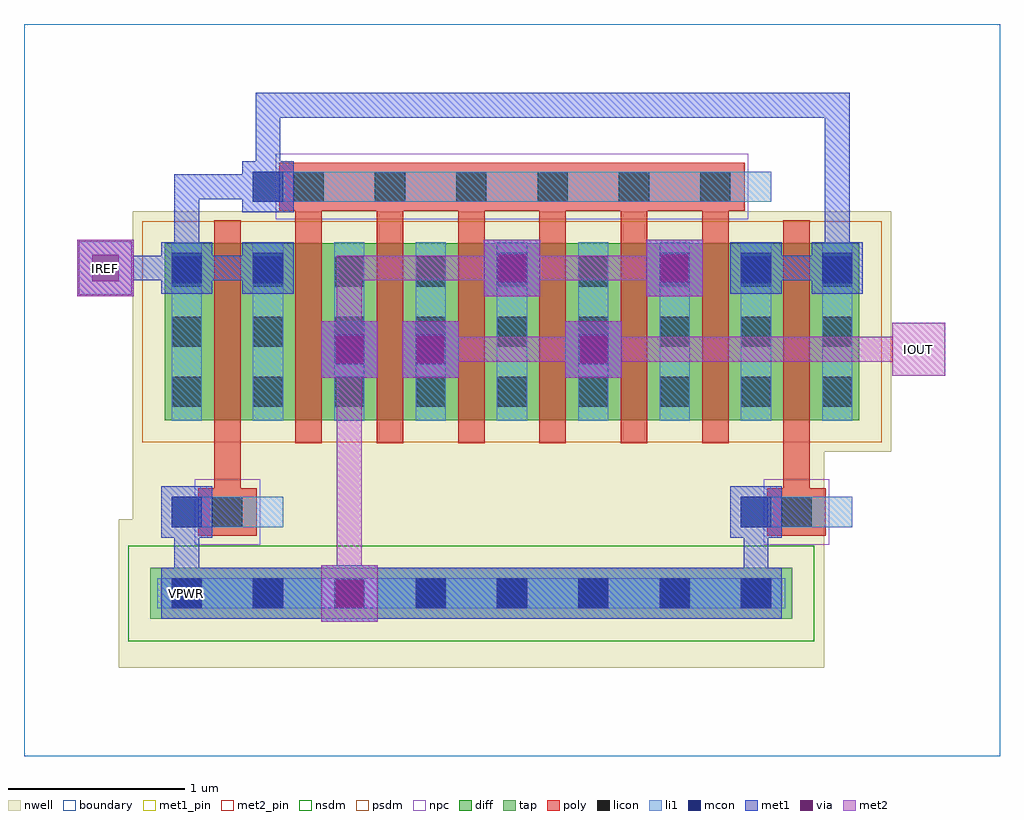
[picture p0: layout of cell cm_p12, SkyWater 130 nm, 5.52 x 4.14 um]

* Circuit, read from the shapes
.subckt cm_p12 IOUT IREF VPWR
XM1 IREF VPWR IREF VPWR sky130_fd_pr__pfet_01v8 w=1 l=0.15 m=2
XM2 VPWR IREF IREF VPWR sky130_fd_pr__pfet_01v8 w=1 l=0.15 m=2
XM3 IOUT IREF VPWR VPWR sky130_fd_pr__pfet_01v8 w=1 l=0.15 m=4
.ends

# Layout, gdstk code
import gdstk
lib = gdstk.Library(unit=1e-6, precision=1e-09)
def R(c, l, rs):  # rectangles x0, y0, x1, y1
    for r in rs: c.add(gdstk.rectangle(r[:2], r[2:], *l))
def A(c, l, x, y, w, h, nx, ny, dx, dy):  # array of equal rectangles
    R(c, l, [(x+i*dx, y+j*dy, x+i*dx+w, y+j*dy+h) for i in range(nx) for j in range(ny)])
nwell = (64, 20)
diff = (65, 20)
tap = (65, 44)
poly = (66, 20)
licon = (66, 44)
li1 = (67, 20)
mcon = (67, 44)
met1_pin = (68, 16)
met1 = (68, 20)
via = (68, 44)
met2_pin = (69, 16)
met2 = (69, 20)
nsdm = (93, 44)
psdm = (94, 20)
npc = (95, 20)
boundary = (235, 4)

cm_p12 = lib.new_cell('cm_p12')
R(cm_p12, nwell, [(0.535,0.5,4.525,1.34), (0.615,1.34,4.525,1.72), (0.615,1.72,4.905,3.08)])
R(cm_p12, diff, [(0.795,1.9,4.725,2.9)])
R(cm_p12, tap, [(0.715,0.775,4.345,1.065)])
A(cm_p12, poly, 1.535, 1.77, 0.15, 1.45, 6, 1, 0.46, 0)
R(cm_p12, poly, [(0.985,1.245,1.315,1.515), (4.205,1.245,4.535,1.515), (1.075,1.38,1.225,3.03), (4.295,1.38,4.445,3.03), (1.445,3.085,4.075,3.355)])
A(cm_p12, licon, 0.835, 0.835, 0.17, 0.17, 8, 1, 0.46, 0)
A(cm_p12, licon, 0.835, 1.975, 0.17, 0.17, 9, 3, 0.46, 0.34)
A(cm_p12, licon, 1.525, 3.135, 0.17, 0.17, 6, 1, 0.46, 0)
R(cm_p12, licon, [(1.065,1.295,1.235,1.465), (4.285,1.295,4.455,1.465)])
A(cm_p12, li1, 0.835, 1.895, 0.17, 1.01, 9, 1, 0.46, 0)
R(cm_p12, li1, [(0.755,0.835,4.305,1.005), (0.835,1.295,1.465,1.465), (4.055,1.295,4.685,1.465), (1.295,3.135,4.225,3.305)])
A(cm_p12, mcon, 0.835, 0.835, 0.17, 0.17, 8, 1, 0.46, 0)
A(cm_p12, mcon, 3.595, 2.675, 0.17, 0.17, 3, 1, 0.46, 0)
R(cm_p12, mcon, [(0.835,1.295,1.005,1.465), (4.055,1.295,4.225,1.465), (1.755,2.215,1.925,2.385), (2.215,2.215,2.385,2.385), (3.135,2.215,3.305,2.385), (0.835,2.675,1.005,2.845), (1.295,2.675,1.465,2.845), (2.675,2.675,2.845,2.845), (1.295,3.135,1.465,3.305)])
R(cm_p12, met1_pin, [(0.85,0.85,0.99,0.99)])
A(cm_p12, met1, 3.535, 2.615, 0.29, 0.29, 3, 1, 0.46, 0)
R(cm_p12, met1, [(1.68,0.76,2,1.08), (0.775,0.775,4.285,1.065), (0.85,0.85,0.99,1.45), (0.85,0.85,0.99,0.99), (0.85,0.85,1.91,0.99), (1.77,0.85,4.21,0.99), (4.07,0.85,4.21,1.45), (0.775,1.235,1.065,1.525), (3.995,1.235,4.285,1.525), (1.68,2.14,2,2.46), (2.14,2.14,2.46,2.46), (3.06,2.14,3.38,2.46), (1.695,2.155,1.985,2.445), (2.155,2.155,2.445,2.445), (3.075,2.155,3.365,2.445), (0.3,2.6,0.62,2.92), (2.6,2.6,2.92,2.92), (3.52,2.6,3.84,2.92), (0.775,2.615,1.065,2.905), (1.235,2.615,1.525,2.905), (2.615,2.615,2.905,2.905), (0.39,2.69,0.99,2.83), (0.85,2.69,0.99,3.29), (0.85,2.69,1.45,2.83), (4.07,2.69,4.67,2.83), (4.53,2.69,4.67,3.75), (1.235,3.075,1.525,3.365), (0.85,3.15,1.45,3.29), (1.31,3.15,1.45,3.75), (1.31,3.61,4.67,3.75)])
R(cm_p12, via, [(1.765,0.845,1.915,0.995), (1.765,2.225,1.915,2.375), (2.225,2.225,2.375,2.375), (3.145,2.225,3.295,2.375), (0.385,2.685,0.535,2.835), (2.685,2.685,2.835,2.835), (3.605,2.685,3.755,2.835)])
R(cm_p12, met2_pin, [(4.91,2.15,5.21,2.45), (0.31,2.61,0.61,2.91)])
R(cm_p12, met2, [(1.68,0.76,2,1.08), (1.77,0.85,1.91,2.37), (1.68,2.14,2,2.46), (2.14,2.14,2.46,2.46), (3.06,2.14,3.38,2.46), (4.91,2.15,5.21,2.45), (1.77,2.23,1.91,2.83), (2.23,2.23,3.29,2.37), (3.15,2.23,5.13,2.37), (4.99,2.23,5.13,2.37), (0.3,2.6,0.62,2.92), (2.6,2.6,2.92,2.92), (3.52,2.6,3.84,2.92), (0.31,2.61,0.61,2.91), (0.39,2.69,0.53,2.83), (1.77,2.69,2.83,2.83), (2.69,2.69,3.75,2.83)])
R(cm_p12, nsdm, [(0.59,0.65,4.47,1.19)])
R(cm_p12, psdm, [(0.67,1.775,4.85,3.025)])
R(cm_p12, npc, [(0.965,1.195,1.335,1.565), (4.185,1.195,4.555,1.565), (1.425,3.035,4.095,3.405)])
R(cm_p12, boundary, [(0,0,5.52,4.14)])
cm_p12.add(gdstk.Label('VPWR', (0.92,0.92), layer=68, texttype=5))
cm_p12.add(gdstk.Label('IREF', (0.46,2.76), layer=69, texttype=5))
cm_p12.add(gdstk.Label('IOUT', (5.06,2.3), layer=69, texttype=5))
cm_p12.add(gdstk.Label('VPWR', (0.92,0.92), layer=68, texttype=16))
cm_p12.add(gdstk.Label('IREF', (0.46,2.76), layer=69, texttype=16))
cm_p12.add(gdstk.Label('IOUT', (5.06,2.3), layer=69, texttype=16))

lib.write_gds('cm_p12.gds')
